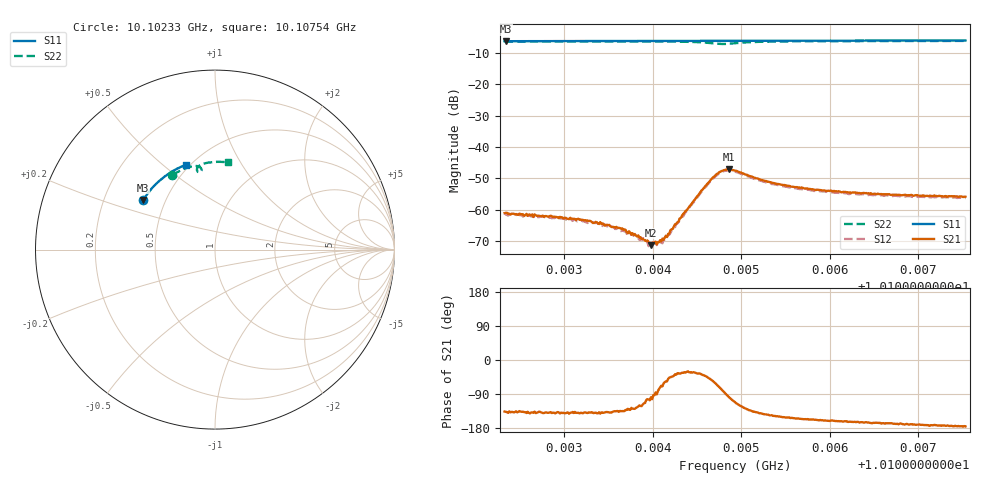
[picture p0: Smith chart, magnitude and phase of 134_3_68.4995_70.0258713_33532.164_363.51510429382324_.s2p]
#  HZ  S  RI  R  50.00
! Rohde & Schwarz Vector Network Analyzer
! Rohde-Schwarz,ZNB20-2Port,1311601062101988,3.16
! Created: UTC 3/20/2024, 4:54:36 PM
! freq[Hz]  re:S11  im:S11  re:S21  im:S21  re:S12  im:S12  re:S22  im:S22
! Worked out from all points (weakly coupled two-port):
!   401 points, 10.10233 GHz to 10.10754 GHz, reference 50 ohm
!   highest |S21| = -47.12 dB at 10.10487 GHz (marker M1); lowest = -71.3 dB at 10.10398 GHz (marker M2)
!   lowest |S11| = -6.3 dB at 10.10234 GHz (marker M3), VSWR 2.89, Z = 18.7 + j13.6 ohm
!   |S11| at or under -10 dB: nowhere
!   |S22| runs from -7.1 to -6.2 dB; largest |S21 - S12| = 0.00043
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1.0102326e10  -0.4007 0.2755  -0.00063 -0.000606  -0.000553 -0.000616  -0.2369 0.416
1.0102339e10  -0.4002 0.2762  -0.000645 -0.000608  -0.000568 -0.000627  -0.2361 0.4165
1.0102756e10  -0.3862 0.2975  -0.000613 -0.000516  -0.000553 -0.00054  -0.2126 0.4302
1.0103199e10  -0.3703 0.3191  -0.000523 -0.000443  -0.000484 -0.000461  -0.186 0.4435
1.0103472e10  -0.3599 0.332  -0.000417 -0.000384  -0.000389 -0.000399  -0.1689 0.4509
1.0103668e10  -0.3522 0.341  -0.000337 -0.000339  -0.000298 -0.000349  -0.1562 0.4558
1.0103772e10  -0.3479 0.3459  -0.00026 -0.000328  -0.000231 -0.000328  -0.149 0.4581
1.0103837e10  -0.3452 0.3488  -0.00021 -0.000325  -0.000147 -0.000316  -0.1445 0.4595
1.0103902e10  -0.3425 0.3516  -0.00014 -0.000311  -0.000118 -0.000296  -0.14 0.4609
1.0103928e10  -0.3413 0.3527  -8.32e-05 -0.000303  -0.0001 -0.000314  -0.1382 0.4614
1.010398e10  -0.3393 0.355  -4.02e-05 -0.00027  -4.05e-05 -0.000285  -0.1342 0.4623
1.0104071e10  -0.3354 0.3591  6.93e-05 -0.000293  9.81e-05 -0.000251  -0.1273 0.4639
1.0104162e10  -0.3314 0.3631  0.000202 -0.000302  0.000246 -0.000264  -0.12 0.4652
1.010454e10  -0.3148 0.3787  0.00153 -0.00113  0.00155 -0.000964  -0.0841 0.4596
1.010467e10  -0.309 0.3839  0.00186 -0.00251  0.00197 -0.00226  -0.0753 0.4452
1.0104774e10  -0.3041 0.388  0.000923 -0.00395  0.00124 -0.00373  -0.0821 0.4319
1.0104866e10  -0.3002 0.3914  -0.000665 -0.00435  -0.000269 -0.00419  -0.095 0.4331
1.0104931e10  -0.297 0.394  -0.00151 -0.00388  -0.00115 -0.00385  -0.1002 0.4405
1.0105374e10  -0.2759 0.4107  -0.00223 -0.00141  -0.00199 -0.00155  -0.0748 0.4744
1.0105803e10  -0.2546 0.4254  -0.00195 -0.000813  -0.00181 -0.000931  -0.0429 0.4835
1.0106676e10  -0.2088 0.4519  -0.00171 -0.000392  -0.00157 -0.000492  0.0162 0.489
1.0107535e10  -0.1612 0.473  -0.00159 -0.000137  -0.00151 -0.000288  0.072 0.4862
